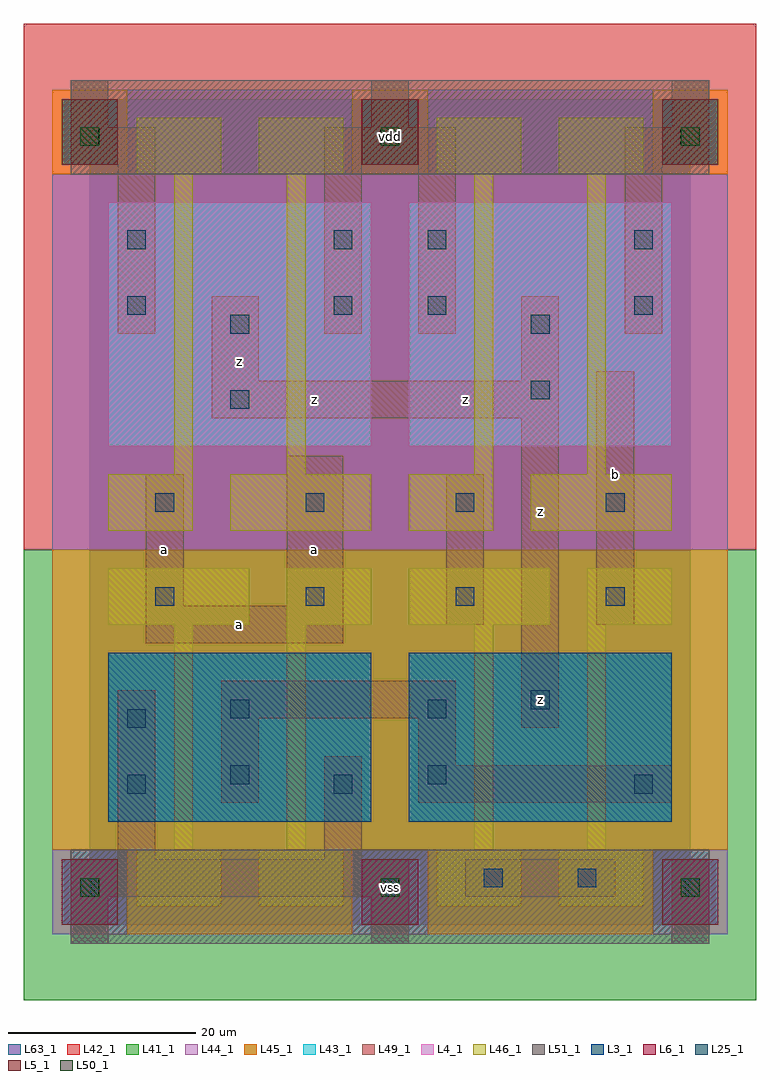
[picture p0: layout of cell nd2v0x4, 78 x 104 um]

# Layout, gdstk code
import gdstk
lib = gdstk.Library(unit=1e-6, precision=1e-09)
def R(c, l, rs):  # rectangles x0, y0, x1, y1
    for r in rs: c.add(gdstk.rectangle(r[:2], r[2:], *l))
def A(c, l, x, y, w, h, nx, ny, dx, dy):  # array of equal rectangles
    R(c, l, [(x+i*dx, y+j*dy, x+i*dx+w, y+j*dy+h) for i in range(nx) for j in range(ny)])
L3_1 = (3, 1)
L4_1 = (4, 1)
L5_1 = (5, 1)
L6_1 = (6, 1)
L25_1 = (25, 1)
L41_1 = (41, 1)
L42_1 = (42, 1)
L43_1 = (43, 1)
L44_1 = (44, 1)
L45_1 = (45, 1)
L46_1 = (46, 1)
L49_1 = (49, 1)
L50_1 = (50, 1)
L51_1 = (51, 1)
L63_1 = (63, 1)

nd2v0x4 = lib.new_cell('nd2v0x4')
R(nd2v0x4, L3_1, [(2,11,30,29), (34,11,62,29)])
R(nd2v0x4, L4_1, [(2,51,30,77), (34,51,62,77)])
A(nd2v0x4, L5_1, -3, 81, 6, 7, 3, 1, 32, 0)
R(nd2v0x4, L6_1, [(-3,0,3,7), (-3,0,3,7), (29,0,35,7), (29,0,35,7), (61,0,67,7), (61,0,67,7)])
A(nd2v0x4, L25_1, -1, 3, 2, 2, 3, 2, 32, 80)
A(nd2v0x4, L25_1, 7, 34, 2, 2, 4, 2, 16, 10)
R(nd2v0x4, L25_1, [(42,4,44,6), (52,4,54,6), (4,14,6,16), (26,14,28,16), (58,14,60,16), (15,15,17,17), (36,15,38,17), (4,21,6,23), (15,22,17,24), (36,22,38,24), (47,23,49,25), (15,55,17,57), (47,56,49,58), (15,63,17,65), (47,63,49,65), (4,65,6,67), (26,65,28,67), (36,65,38,67), (58,65,60,67), (4,72,6,74), (26,72,28,74), (36,72,38,74), (58,72,60,74)])
R(nd2v0x4, L41_1, [(-7,-8,71,40)])
R(nd2v0x4, L42_1, [(-7,40,71,96)])
A(nd2v0x4, L43_1, -3, 0, 6, 7, 3, 2, 32, 81)
R(nd2v0x4, L43_1, [(2,11,30,29), (34,11,62,29), (2,51,30,77), (34,51,62,77)])
A(nd2v0x4, L44_1, -4, -1, 8, 9, 3, 1, 32, 0)
R(nd2v0x4, L44_1, [(-4,40,68,80), (4,80,28,89), (36,80,60,89)])
A(nd2v0x4, L45_1, -4, 80, 8, 9, 3, 1, 32, 0)
R(nd2v0x4, L45_1, [(4,-1,28,8), (36,-1,60,8), (-4,8,68,40)])
R(nd2v0x4, L46_1, [(5,2,14,8), (18,2,27,8), (37,2,46,8), (50,2,59,8), (9,8,11,32), (21,8,23,32), (41,8,43,32), (53,8,55,32), (2,32,17,38), (21,32,30,38), (34,32,49,38), (53,32,62,38), (2,42,11,48), (15,42,30,48), (34,42,43,48), (47,42,62,48), (9,48,11,80), (21,48,23,80), (41,48,43,80), (53,48,55,80), (5,80,14,86), (18,80,27,86), (37,80,46,86), (50,80,59,86)])
A(nd2v0x4, L49_1, -2, 85, 4, 5, 3, 1, 32, 0)
R(nd2v0x4, L49_1, [(-2,-2,2,3), (30,-2,34,3), (62,-2,66,7), (-2,3,34,7), (40,3,56,7), (3,7,7,25), (25,7,29,18), (14,13,18,22), (35,13,62,17), (35,17,39,22), (46,21,50,54), (14,22,39,26), (6,30,27,34), (38,32,42,48), (54,32,58,59), (6,34,10,48), (21,34,27,50), (13,54,50,58), (13,58,18,67), (46,58,50,67), (3,63,7,81), (25,63,29,81), (35,63,39,81), (57,63,61,81), (-2,81,7,85), (25,81,39,85), (57,81,66,85)])
A(nd2v0x4, L50_1, -1, 3, 2, 2, 3, 2, 32, 80)
R(nd2v0x4, L51_1, [(-2,-2,66,8), (-2,80,66,90)])
R(nd2v0x4, L63_1, [(0,0,64,88)])
nd2v0x4.add(gdstk.Label('a', (8,40), layer=49, texttype=1))
nd2v0x4.add(gdstk.Label('a', (16,32), layer=49, texttype=1))
nd2v0x4.add(gdstk.Label('z', (16,60), layer=49, texttype=1))
nd2v0x4.add(gdstk.Label('a', (24,40), layer=49, texttype=1))
nd2v0x4.add(gdstk.Label('z', (24,56), layer=49, texttype=1))
nd2v0x4.add(gdstk.Label('z', (48,24), layer=49, texttype=1))
nd2v0x4.add(gdstk.Label('z', (48,44), layer=49, texttype=1))
nd2v0x4.add(gdstk.Label('z', (40,56), layer=49, texttype=1))
nd2v0x4.add(gdstk.Label('b', (56,48), layer=49, texttype=1))
nd2v0x4.add(gdstk.Label('vss', (32,4), layer=51, texttype=1))
nd2v0x4.add(gdstk.Label('vdd', (32,84), layer=51, texttype=1))

lib.write_gds('nd2v0x4.gds')
